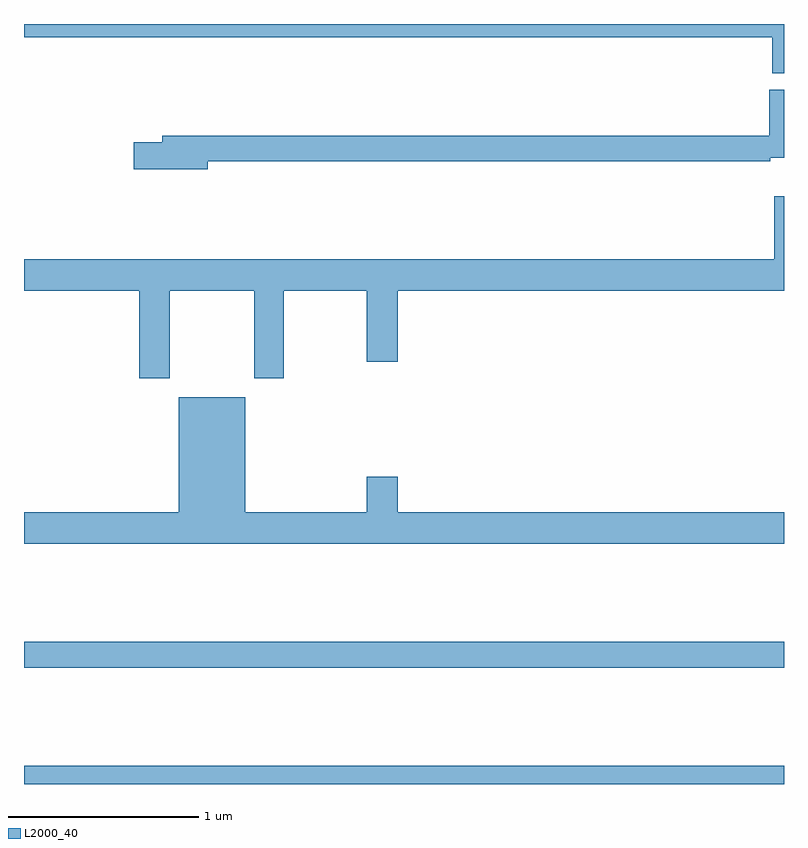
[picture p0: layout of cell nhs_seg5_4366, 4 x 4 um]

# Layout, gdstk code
import gdstk
lib = gdstk.Library(unit=1e-6, precision=1e-09)
def R(c, l, rs):  # rectangles x0, y0, x1, y1
    for r in rs: c.add(gdstk.rectangle(r[:2], r[2:], *l))
def P(c, l, *ps):  # polygons
    for p in ps: c.add(gdstk.Polygon(p, *l))
L2000_40 = (2000, 40)

nhs_seg5_4366 = lib.new_cell('nhs_seg5_4366')
R(nhs_seg5_4366, L2000_40, [(367,884.799,371,884.896), (367,885.412,371,885.548)])
P(nhs_seg5_4366, L2000_40, [(371,888.799),(367,888.799),(367,888.728),(370.937,888.728),(370.937,888.539),(371,888.539)],
  [(367.966,888.076),(370.928,888.076),(370.928,888.095),(371,888.095),(371,888.454),(370.922,888.454),(370.922,888.212),(367.727,888.212),(367.727,888.176),(367.578,888.176),(367.578,888.034),(367.966,888.034)],
  [(367.767,887.396),(368.212,887.396),(368.212,886.935),(368.367,886.935),(368.367,887.396),(368.804,887.396),(368.804,887.022),(368.968,887.022),(368.968,887.396),(371,887.396),(371,887.893),(370.948,887.893),(370.948,887.56),(367,887.56),(367,887.396),(367.607,887.396),(367.607,886.935),(367.767,886.935)],
  [(371,886.228),(368.968,886.228),(368.968,886.417),(368.804,886.417),(368.804,886.228),(368.164,886.228),(368.164,886.834),(367.814,886.834),(367.814,886.228),(367,886.228),(367,886.064),(371,886.064)])

lib.write_gds('nhs_seg5_4366.gds')
